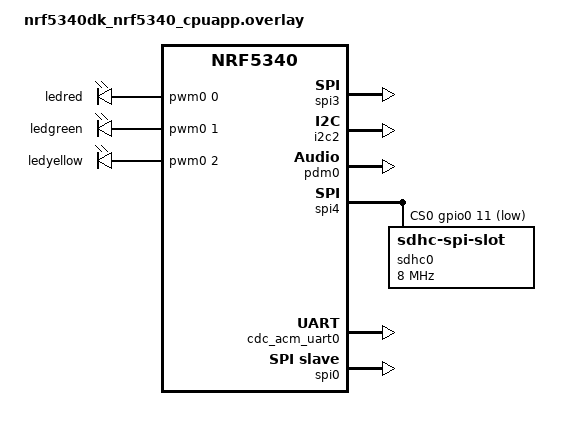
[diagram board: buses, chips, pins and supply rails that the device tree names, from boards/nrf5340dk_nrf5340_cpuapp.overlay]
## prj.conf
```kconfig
CONFIG_DK_LIBRARY=y

CONFIG_GPIO=y
CONFIG_CLOCK_CONTROL=y
CONFIG_CLOCK_CONTROL_NRF_K32SRC_RC=y
CONFIG_CLOCK_CONTROL_NRF_K32SRC_XTAL=n
CONFIG_SOC_ENABLE_LFXO=n

CONFIG_BT=y
CONFIG_BT_DEBUG_LOG=y
CONFIG_BT_PERIPHERAL=y
CONFIG_BT_DEVICE_NAME="VersaSens"
CONFIG_BT_BAS=y
# CONFIG_BT_HRS=y

CONFIG_BT_CTLR_ADV_EXT=y

CONFIG_BT_EXT_ADV=y
CONFIG_BT_USER_PHY_UPDATE=y

CONFIG_BT_USER_DATA_LEN_UPDATE=y
CONFIG_BT_USER_PHY_UPDATE=y

CONFIG_BT_BUF_ACL_RX_SIZE=251
CONFIG_BT_ATT_PREPARE_COUNT=2
CONFIG_BT_L2CAP_TX_BUF_COUNT=10
CONFIG_BT_L2CAP_TX_MTU=247
CONFIG_BT_CONN_TX_MAX=10
CONFIG_BT_BUF_ACL_TX_COUNT=20
CONFIG_BT_BUF_ACL_TX_SIZE=251
CONFIG_SYSTEM_WORKQUEUE_STACK_SIZE=2048
CONFIG_BT_BUF_ACL_RX_COUNT=20
CONFIG_BT_BUF_ACL_RX_SIZE=251

CONFIG_BT_USER_DATA_LEN_UPDATE=y
CONFIG_BT_GATT_CLIENT=y

CONFIG_BT_GAP_AUTO_UPDATE_CONN_PARAMS=y
CONFIG_BT_PERIPHERAL_PREF_MIN_INT=6
CONFIG_BT_PERIPHERAL_PREF_MAX_INT=6

CONFIG_PINCTRL=y
CONFIG_NRFX_TWIM2=y
# CONFIG_I2C=y
# CONFIG_I2C_NRFX=y
CONFIG_NRFX_UARTE1=y
CONFIG_NRFX_PDM=y
CONFIG_NRFX_SPIM3=y
CONFIG_NRFX_SPIM4=y
CONFIG_NRFX_SPIS0=y

CONFIG_NRFX_GPIOTE=y


CONFIG_ASSERT=y

CONFIG_DISK_ACCESS=y
CONFIG_FILE_SYSTEM=y
CONFIG_FAT_FILESYSTEM_ELM=y
CONFIG_PRINTK=y
CONFIG_SPI=y
CONFIG_DISK_DRIVER_SDMMC=y
CONFIG_NORDIC_QSPI_NOR=n

CONFIG_MAIN_STACK_SIZE=50000

CONFIG_NORDIC_QSPI_NOR=n
CONFIG_NORDIC_QSPI_NOR_FLASH_LAYOUT_PAGE_SIZE=4096
CONFIG_DISK_DRIVERS=y
CONFIG_DISK_DRIVER_FLASH=y

CONFIG_SDHC=y
CONFIG_DISK_DRIVER_SDMMC=y

CONFIG_STDOUT_CONSOLE=y

#USB related configs
CONFIG_USB_DEVICE_STACK=y
CONFIG_USB_DEVICE_PRODUCT="Zephyr MSC sample"
CONFIG_USB_DEVICE_PID=0x0008
CONFIG_USB_DRIVER_LOG_LEVEL_ERR=y
CONFIG_USB_MASS_STORAGE=y
CONFIG_USB_DEVICE_LOG_LEVEL_ERR=y
CONFIG_USB_MASS_STORAGE_LOG_LEVEL_ERR=y
CONFIG_USB_DEVICE_INITIALIZE_AT_BOOT=n
CONFIG_MASS_STORAGE_DISK_NAME="SD"
CONFIG_MASS_STORAGE_STACK_SIZE=8192

CONFIG_POSIX_API=y

CONFIG_USB_CDC_ACM=y
CONFIG_USB_COMPOSITE_DEVICE=y

CONFIG_LOG=y
CONFIG_CONSOLE=y
CONFIG_RTT_CONSOLE=y
CONFIG_USE_SEGGER_RTT=y
CONFIG_UART_CONSOLE=n
CONFIG_SEGGER_RTT_BUFFER_SIZE_UP=1024
CONFIG_RTT_TX_RETRY_CNT=10
CONFIG_RTT_TX_RETRY_DELAY_MS=1
CONFIG_LOG_DEFAULT_LEVEL=0

CONFIG_LOG_BUFFER_SIZE=4096

# allocate heap memory for fifo
CONFIG_HEAP_MEM_POOL_SIZE=16384

CONFIG_THREAD_ANALYZER=n
CONFIG_THREAD_ANALYZER_USE_PRINTK=n
CONFIG_THREAD_ANALYZER_AUTO=n
CONFIG_THREAD_ANALYZER_AUTO_INTERVAL=5
CONFIG_THREAD_NAME=y

CONFIG_EVENTS=y
```

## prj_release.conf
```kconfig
CONFIG_DK_LIBRARY=y

CONFIG_GPIO=y
CONFIG_CLOCK_CONTROL=y
CONFIG_CLOCK_CONTROL_NRF_K32SRC_RC=y
CONFIG_CLOCK_CONTROL_NRF_K32SRC_XTAL=n
CONFIG_SOC_ENABLE_LFXO=n

CONFIG_BT=y
CONFIG_BT_DEBUG_LOG=y
CONFIG_BT_PERIPHERAL=y
CONFIG_BT_DEVICE_NAME="VersaSens"
CONFIG_BT_BAS=y
# CONFIG_BT_HRS=y

CONFIG_BT_CTLR_ADV_EXT=y

CONFIG_BT_EXT_ADV=y
CONFIG_BT_USER_PHY_UPDATE=y

CONFIG_BT_USER_DATA_LEN_UPDATE=y
CONFIG_BT_USER_PHY_UPDATE=y

CONFIG_BT_BUF_ACL_RX_SIZE=251
CONFIG_BT_ATT_PREPARE_COUNT=2
CONFIG_BT_L2CAP_TX_BUF_COUNT=10
CONFIG_BT_L2CAP_TX_MTU=247
CONFIG_BT_CONN_TX_MAX=10
CONFIG_BT_BUF_ACL_TX_COUNT=20
CONFIG_BT_BUF_ACL_TX_SIZE=251
CONFIG_SYSTEM_WORKQUEUE_STACK_SIZE=2048
CONFIG_BT_BUF_ACL_RX_COUNT=20
CONFIG_BT_BUF_ACL_RX_SIZE=251

CONFIG_BT_USER_DATA_LEN_UPDATE=y
CONFIG_BT_GATT_CLIENT=y

CONFIG_BT_GAP_AUTO_UPDATE_CONN_PARAMS=y
CONFIG_BT_PERIPHERAL_PREF_MIN_INT=6
CONFIG_BT_PERIPHERAL_PREF_MAX_INT=6

CONFIG_PINCTRL=y
CONFIG_NRFX_TWIM2=y
# CONFIG_I2C=y
# CONFIG_I2C_NRFX=y
CONFIG_NRFX_UARTE1=y
CONFIG_NRFX_PDM=y
CONFIG_NRFX_SPIM3=y
CONFIG_NRFX_SPIM4=y
CONFIG_NRFX_SPIS0=y

CONFIG_NRFX_GPIOTE=y


CONFIG_ASSERT=y

CONFIG_DISK_ACCESS=y
CONFIG_FILE_SYSTEM=y
CONFIG_FAT_FILESYSTEM_ELM=y
CONFIG_PRINTK=y
CONFIG_SPI=y
CONFIG_DISK_DRIVER_SDMMC=y
CONFIG_NORDIC_QSPI_NOR=n

CONFIG_MAIN_STACK_SIZE=50000

CONFIG_NORDIC_QSPI_NOR=n
CONFIG_NORDIC_QSPI_NOR_FLASH_LAYOUT_PAGE_SIZE=4096
CONFIG_DISK_DRIVERS=y
CONFIG_DISK_DRIVER_FLASH=y

CONFIG_SDHC=y
CONFIG_DISK_DRIVER_SDMMC=y

CONFIG_STDOUT_CONSOLE=y

#USB related configs
CONFIG_USB_DEVICE_STACK=y
CONFIG_USB_DEVICE_PRODUCT="Zephyr MSC sample"
CONFIG_USB_DEVICE_PID=0x0008
CONFIG_USB_DRIVER_LOG_LEVEL_ERR=y
CONFIG_USB_MASS_STORAGE=y
CONFIG_USB_DEVICE_LOG_LEVEL_ERR=y
CONFIG_USB_MASS_STORAGE_LOG_LEVEL_ERR=y
CONFIG_USB_DEVICE_INITIALIZE_AT_BOOT=n
CONFIG_MASS_STORAGE_DISK_NAME="SD"
CONFIG_MASS_STORAGE_STACK_SIZE=8192

CONFIG_POSIX_API=y

CONFIG_USB_CDC_ACM=y
CONFIG_USB_COMPOSITE_DEVICE=y

CONFIG_LOG=y
CONFIG_CONSOLE=y
CONFIG_RTT_CONSOLE=y
CONFIG_USE_SEGGER_RTT=y
CONFIG_UART_CONSOLE=n
CONFIG_SEGGER_RTT_BUFFER_SIZE_UP=1024
CONFIG_RTT_TX_RETRY_CNT=10
CONFIG_RTT_TX_RETRY_DELAY_MS=1

CONFIG_LOG_BUFFER_SIZE=4096

# allocate heap memory for fifo
CONFIG_HEAP_MEM_POOL_SIZE=16384

CONFIG_THREAD_ANALYZER=n
CONFIG_THREAD_ANALYZER_USE_PRINTK=n
CONFIG_THREAD_ANALYZER_AUTO=n
CONFIG_THREAD_ANALYZER_AUTO_INTERVAL=5
CONFIG_THREAD_NAME=y

CONFIG_EVENTS=y
```

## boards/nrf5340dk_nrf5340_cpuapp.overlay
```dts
#include "pinctrl.dtsi"

&spi3 {
    status = "okay";
    compatible = "nordic,nrf-spim";
    pinctrl-0 = <&spi_master>;
    pinctrl-names = "default";
};

&i2c2 {
    status = "okay";
    compatible = "nordic,nrf-twim";
    pinctrl-0 = <&i2c_master>;
};

&i2c1 {
    status = "disabled";
};


&uart1 {
    status = "disabled";
    compatible = "nordic,nrf-uarte";
};

/ {
	chosen {
		nordic,pm-ext-flash = &mx25r64;
	};
};

&pdm0 {
    status = "okay";
    compatible = "nordic,nrf-pdm";
    pinctrl-0 = <&pdm_clk>;
};

&spi4 {
    status = "okay";
    compatible = "nordic,nrf-spim";
    cs-gpios = <&gpio0 11 GPIO_ACTIVE_LOW>;

    pinctrl-0 = <&spi_sd>;

    sdhc0: sdhc@0 {
            compatible = "zephyr,sdhc-spi-slot";
            reg = <0>;
            status = "okay";
            mmc {
                compatible = "zephyr,sdmmc-disk";
                status = "okay";
            };
            spi-max-frequency = <8000000>;
    };
};

&gpio_fwd {
    status = "disabled";
};

&usbd {
    cdc_acm_uart0: cdc_acm_uart0 {
		status = "okay";
        compatible = "zephyr,cdc-acm-uart";
        label = "CDC_ACM_0";
    };
};


&spi0 {
    status = "okay";
    compatible = "nordic,nrf-spis";
    pinctrl-0 = <&spi_heepo>;
    pinctrl-names = "default";
    def-char = <0x00>;
};

&uart0 {
    status = "disabled";
};

/ {
	pwmleds {
        compatible = "pwm-leds";

        ledred: pwm_led_0 {
            pwms = <&pwm0 0 PWM_MSEC(20) PWM_POLARITY_INVERTED>;
        };

        ledgreen: pwm_led_1 {
            pwms = <&pwm0 1 PWM_MSEC(20) PWM_POLARITY_INVERTED>;
        };

        ledyellow: pwm_led_2 {
            pwms = <&pwm0 2 PWM_MSEC(20) PWM_POLARITY_INVERTED>;
        };
    };
};

&pinctrl {
    pwm0_default: pwm0_default {
        group1 {
            psels = <NRF_PSEL(PWM_OUT0, 0, 27)>,  // e.g., P0.28 for LED 0
                    <NRF_PSEL(PWM_OUT1, 1, 7)>,  // P0.29 for LED 1
                    <NRF_PSEL(PWM_OUT2, 0, 12)>;  // P0.30 for LED 2
        };
    };

    pwm0_sleep: pwm0_sleep {
        group1 {
            psels = <NRF_PSEL(PWM_OUT0, 0, 27)>,
                    <NRF_PSEL(PWM_OUT1, 1, 7)>,
                    <NRF_PSEL(PWM_OUT2, 0, 12)>;
            low-power-enable;
        };
    };
};
```

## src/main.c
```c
#include <zephyr/kernel.h>
#include <zephyr/types.h>
#include <zephyr/usb/usb_device.h>
#include <time.h>
#include <zephyr/bluetooth/bluetooth.h>
#include <zephyr/bluetooth/conn.h>
#include <zephyr/bluetooth/uuid.h>
#include <zephyr/bluetooth/gatt.h>
#include <zephyr/bluetooth/hci.h>
#include <nrfx_gpiote.h>
#include "MAX77658.h"
#include "versa_ble.h"
#include "twim_inst.h"
#include "storage.h"
#include "ADS1298.h"
#include "MAX30001.h"
#include "versa_api.h"
#include <zephyr/devicetree.h>
#include <zephyr/storage/disk_access.h>
#include <zephyr/logging/log.h>
#include <zephyr/fs/fs.h>
#include <ff.h>
#include <SPI_Heepocrates.h>
#include "app_data.h"
#include <zephyr/drivers/led.h>

LOG_MODULE_REGISTER(main, LOG_LEVEL_INF);

#define LED_PWM_NODE_ID	 DT_COMPAT_GET_ANY_STATUS_OKAY(pwm_leds)
int main(void)
{
    nrf_gpio_cfg_output(START_PIN);
    nrf_gpio_pin_set(START_PIN);
    
    versa_init();
    // enable_auto_connect();
    versa_config();
    // const struct device *led_pwm;

    // led_pwm = DEVICE_DT_GET(LED_PWM_NODE_ID);
	// if (!device_is_ready(led_pwm)) {
	// 	LOG_ERR("Device %s is not ready", led_pwm->name);
	// }

    // uint8_t i;
    // while(1) {
    //     for(i=0;i<3;i++) {
    //         //led_set_brightness(led_pwm, i, 50);
    //         led_on(led_pwm, i);
    //         k_sleep(K_MSEC(1000));
    //         led_off(led_pwm,i);
    //         k_sleep(K_MSEC(1000));
    //     }
    // }
    // versa_start_led_thread();

    nrf_gpio_cfg_output(GREEN_LED_PIN);
    nrf_gpio_pin_set(GREEN_LED_PIN);

    nrf_gpio_cfg_output(RED_LED_PIN);
    nrf_gpio_pin_set(RED_LED_PIN);

    nrf_gpio_cfg_output(YELLOW_LED_PIN);
    nrf_gpio_pin_set(YELLOW_LED_PIN);
    versa_start_mode_thread();

    SPI_Heepocrates_init();

    while (1)
    {
        // data aquisition example
        k_sleep(K_MSEC(1000));
        // struct app_data_struct *data = k_malloc(sizeof(*data));
        // if (data == NULL)
        // {
        //     LOG_ERR("Failed to allocate memory for new_data\n");
        // }
        // else
        // {
        //     app_data_get_from_fifo(data);
        // }
        
        // if (data != NULL)
        // {
        //     LOG_INF("Data received from FIFO: %02hx", data->data[0]);
        //     k_free(data);
        // }
    }
}
```
